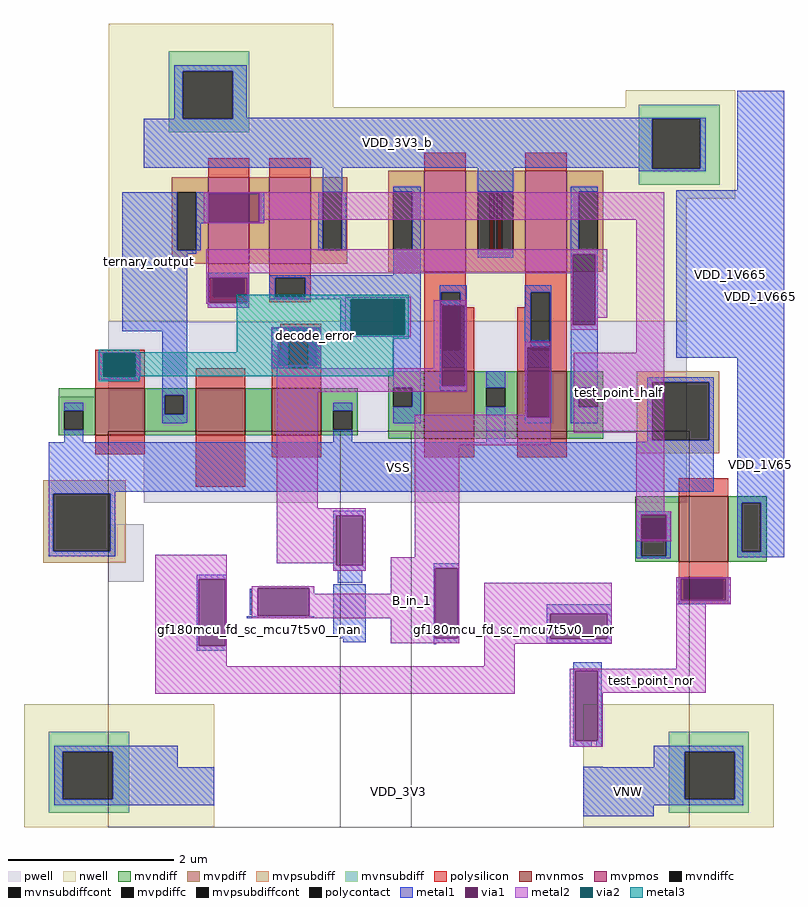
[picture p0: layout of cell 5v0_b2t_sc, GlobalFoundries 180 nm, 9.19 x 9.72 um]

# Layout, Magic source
magic
tech gf180mcuD
magscale 1 10
<< nwell >>
rect 195 759 737 960
rect 195 758 738 759
rect 195 312 782 758
rect 1444 546 1709 799
rect 1452 537 1709 546
rect 195 262 796 312
rect 195 261 789 262
rect 195 240 782 261
rect -10 -983 450 -685
rect 1342 -983 1802 -685
<< pwell >>
rect 194 239 317 240
rect 194 234 773 239
rect 835 234 926 240
rect 194 226 926 234
rect 194 223 618 226
rect 691 223 926 226
rect 194 158 691 223
rect 692 158 926 223
rect 194 81 926 158
rect 73 -35 162 58
rect 194 -35 798 81
rect 817 -35 926 81
rect 194 -59 926 -35
rect 280 -198 926 -59
rect 1471 -79 1513 120
rect 194 -389 280 -250
<< mvnmos >>
rect 162 -35 282 79
rect 405 -35 525 79
rect 589 -35 709 79
rect 1572 -341 1692 -183
<< mvpmos >>
rect 435 379 535 588
rect 583 379 683 588
<< mvndiff >>
rect 74 24 162 79
rect 74 -22 87 24
rect 133 -22 162 24
rect 74 -35 162 -22
rect 282 62 405 79
rect 282 16 330 62
rect 376 16 405 62
rect 282 -35 405 16
rect 525 -35 589 79
rect 709 24 797 79
rect 709 -22 738 24
rect 784 -22 797 24
rect 709 -35 797 -22
rect 1468 -237 1572 -183
rect 1468 -327 1482 -237
rect 1542 -327 1572 -237
rect 1468 -341 1572 -327
rect 1692 -198 1785 -183
rect 1692 -317 1725 -198
rect 1771 -317 1785 -198
rect 1692 -341 1785 -317
<< mvpdiff >>
rect 347 552 435 588
rect 347 412 360 552
rect 406 412 435 552
rect 347 379 435 412
rect 535 379 583 588
rect 683 552 771 588
rect 683 412 712 552
rect 758 412 771 552
rect 683 379 771 412
<< mvndiffc >>
rect 87 -22 133 24
rect 330 16 376 62
rect 738 -22 784 24
rect 1482 -327 1542 -237
rect 1725 -317 1771 -198
<< mvpdiffc >>
rect 360 412 406 552
rect 712 412 758 552
rect 1087 413 1173 553
<< mvpsubdiff >>
rect 1471 93 1670 120
rect 37 -176 236 -144
rect 1471 -47 1509 93
rect 1646 -47 1670 93
rect 1471 -79 1670 -47
rect 37 -316 61 -176
rect 198 -316 236 -176
rect 37 -343 236 -316
<< mvnsubdiff >>
rect 340 845 534 893
rect 340 730 374 845
rect 495 730 534 845
rect 340 697 534 730
rect 1476 730 1672 764
rect 1476 609 1509 730
rect 1624 609 1672 730
rect 1476 570 1672 609
rect 50 -800 244 -752
rect 50 -915 84 -800
rect 205 -915 244 -800
rect 50 -948 244 -915
rect 1548 -800 1742 -752
rect 1548 -915 1587 -800
rect 1708 -915 1742 -800
rect 1548 -948 1742 -915
<< mvpsubdiffcont >>
rect 1509 -47 1646 93
rect 61 -316 198 -176
<< mvnsubdiffcont >>
rect 374 730 495 845
rect 1509 609 1624 730
rect 84 -915 205 -800
rect 1587 -915 1708 -800
<< polysilicon >>
rect 435 588 535 634
rect 583 588 683 634
rect 435 346 535 379
rect 435 300 448 346
rect 521 300 535 346
rect 435 286 535 300
rect 583 346 683 379
rect 583 300 597 346
rect 670 300 683 346
rect 583 286 683 300
rect 609 219 709 234
rect 162 158 282 172
rect 609 170 630 219
rect 162 112 181 158
rect 259 112 282 158
rect 589 127 630 170
rect 676 127 709 219
rect 162 79 282 112
rect 405 79 525 127
rect 589 79 709 127
rect 162 -81 282 -35
rect 405 -159 525 -35
rect 589 -88 709 -35
rect 1572 -183 1692 -139
rect 1572 -378 1692 -341
rect 1572 -429 1586 -378
rect 1679 -429 1692 -378
rect 1572 -443 1692 -429
<< polycontact >>
rect 448 300 521 346
rect 597 300 670 346
rect 181 112 259 158
rect 630 127 676 219
rect 1586 -429 1679 -378
<< metal1 >>
rect 353 845 528 859
rect 353 730 374 845
rect 495 732 528 845
rect 495 730 840 732
rect 1476 730 1638 732
rect 280 612 1347 730
rect 712 552 759 612
rect 1476 609 1509 730
rect 1624 609 1638 730
rect 1476 603 1638 609
rect 1714 557 1827 798
rect 228 412 360 552
rect 406 550 571 552
rect 406 480 436 550
rect 559 480 571 550
rect 406 477 571 480
rect 406 412 417 477
rect 701 412 712 552
rect 758 412 769 552
rect 228 404 406 412
rect 228 216 385 404
rect 434 346 535 358
rect 434 285 438 346
rect 530 285 535 346
rect 583 346 940 352
rect 583 300 597 346
rect 670 326 940 346
rect 670 300 948 326
rect 583 294 948 300
rect 434 273 535 285
rect 169 158 271 166
rect 169 106 181 158
rect 259 106 271 158
rect 169 99 271 106
rect 324 62 385 216
rect 589 219 709 223
rect 589 214 630 219
rect 676 214 709 219
rect 589 134 604 214
rect 697 134 709 214
rect 755 208 780 294
rect 910 208 948 294
rect 755 203 948 208
rect 995 279 1060 291
rect 589 127 630 134
rect 676 127 709 134
rect 995 84 1000 279
rect 1055 84 1060 279
rect 995 72 1060 84
rect 1200 178 1265 195
rect 87 24 133 43
rect 324 16 330 62
rect 376 16 385 62
rect 324 -5 385 16
rect 738 24 784 43
rect 324 -6 376 -5
rect 87 -52 133 -22
rect 1200 8 1206 178
rect 1261 8 1265 178
rect 1567 152 1827 557
rect 1200 -6 1265 8
rect 1497 93 1657 105
rect 738 -52 784 -22
rect 1497 -47 1509 93
rect 1646 -47 1657 93
rect 1497 -51 1657 -47
rect 50 -172 1288 -52
rect 1471 -79 1657 -51
rect 1484 -172 1657 -79
rect 50 -176 210 -172
rect 50 -316 61 -176
rect 198 -316 210 -176
rect 1714 -198 1827 152
rect 50 -328 210 -316
rect 738 -230 816 -218
rect 738 -349 745 -230
rect 809 -349 816 -230
rect 1470 -227 1553 -219
rect 1470 -327 1482 -227
rect 1542 -327 1553 -227
rect 1470 -332 1553 -327
rect 1714 -317 1725 -198
rect 1771 -317 1827 -198
rect 1714 -330 1827 -317
rect 738 -362 816 -349
rect 981 -356 1042 -344
rect 407 -383 480 -372
rect 407 -544 412 -383
rect 476 -544 480 -383
rect 748 -391 807 -362
rect 536 -469 541 -406
rect 582 -472 668 -471
rect 528 -478 691 -472
rect 738 -526 816 -395
rect 762 -535 816 -526
rect 981 -526 984 -356
rect 1039 -526 1042 -356
rect 1566 -382 1586 -378
rect 1679 -382 1698 -378
rect 1566 -434 1578 -382
rect 1686 -434 1698 -382
rect 1566 -443 1698 -434
rect 981 -538 1042 -526
rect 1254 -467 1411 -444
rect 1254 -527 1262 -467
rect 1400 -527 1411 -467
rect 1254 -538 1411 -527
rect 981 -540 987 -538
rect 407 -556 480 -544
rect 1317 -604 1386 -584
rect 1317 -774 1322 -604
rect 1377 -774 1386 -604
rect 63 -800 362 -786
rect 1317 -788 1362 -774
rect 1373 -788 1386 -774
rect 63 -915 84 -800
rect 205 -838 362 -800
rect 1512 -800 1729 -786
rect 1342 -837 1389 -836
rect 1512 -837 1587 -800
rect 205 -915 450 -838
rect 63 -929 450 -915
rect 1342 -915 1587 -837
rect 1708 -915 1729 -800
rect 1342 -929 1729 -915
rect 1342 -956 1512 -929
<< via1 >>
rect 436 480 559 550
rect 438 300 448 346
rect 448 300 521 346
rect 521 300 530 346
rect 438 285 530 300
rect 181 112 259 158
rect 181 106 259 112
rect 604 134 630 214
rect 630 134 676 214
rect 676 134 697 214
rect 780 208 910 294
rect 1000 84 1055 279
rect 1316 232 1371 402
rect 1206 8 1261 178
rect 745 -349 809 -230
rect 1482 -237 1542 -227
rect 1482 -287 1542 -237
rect 412 -544 476 -383
rect 555 -471 679 -405
rect 984 -526 1039 -356
rect 1578 -429 1586 -382
rect 1586 -429 1679 -382
rect 1679 -429 1686 -382
rect 1578 -434 1686 -429
rect 1262 -527 1400 -467
rect 1322 -774 1377 -604
<< metal2 >>
rect 424 550 1537 552
rect 424 480 436 550
rect 559 486 1537 550
rect 559 480 571 486
rect 424 477 571 480
rect 431 414 925 415
rect 431 402 1400 414
rect 431 356 1316 402
rect 431 346 535 356
rect 431 285 438 346
rect 530 285 535 346
rect 431 283 535 285
rect 434 273 535 283
rect 766 294 925 300
rect 588 214 709 226
rect 169 162 271 166
rect 169 106 181 162
rect 259 106 271 162
rect 588 134 604 214
rect 697 134 709 214
rect 766 208 780 294
rect 910 208 925 294
rect 766 203 925 208
rect 981 279 1060 291
rect 588 127 709 134
rect 981 127 1000 279
rect 169 99 271 106
rect 601 84 1000 127
rect 1055 84 1060 279
rect 1311 232 1316 356
rect 1371 249 1400 402
rect 1371 232 1377 249
rect 1311 220 1377 232
rect 601 70 1060 84
rect 1200 178 1263 191
rect 601 -212 700 70
rect 1200 14 1206 178
rect 935 8 1206 14
rect 1261 8 1263 178
rect 1470 164 1537 486
rect 935 -59 1263 8
rect 1319 -29 1537 164
rect 601 -230 816 -212
rect 307 -383 480 -324
rect 601 -344 745 -230
rect 738 -349 745 -344
rect 809 -349 816 -230
rect 935 -330 1042 -59
rect 1470 -219 1537 -29
rect 1470 -227 1554 -219
rect 1470 -287 1482 -227
rect 1542 -287 1554 -227
rect 1470 -291 1554 -287
rect 738 -362 816 -349
rect 876 -356 1042 -330
rect 307 -544 412 -383
rect 476 -544 480 -383
rect 541 -405 691 -400
rect 541 -471 555 -405
rect 679 -418 691 -405
rect 876 -418 984 -356
rect 679 -471 984 -418
rect 541 -478 984 -471
rect 876 -526 984 -478
rect 1039 -526 1042 -356
rect 1566 -382 1698 -378
rect 876 -538 1042 -526
rect 1102 -467 1411 -392
rect 1102 -527 1262 -467
rect 1400 -527 1411 -467
rect 307 -594 480 -544
rect 1102 -539 1411 -527
rect 1566 -434 1578 -382
rect 1686 -434 1698 -382
rect 1566 -443 1698 -434
rect 1102 -594 1176 -539
rect 307 -660 1176 -594
rect 1566 -600 1638 -443
rect 1309 -604 1638 -600
rect 1309 -774 1322 -604
rect 1377 -657 1638 -604
rect 1377 -774 1389 -657
rect 1309 -788 1389 -774
<< via2 >>
rect 181 158 259 162
rect 181 106 259 158
rect 780 208 910 294
<< metal3 >>
rect 504 304 883 305
rect 504 294 920 304
rect 504 208 780 294
rect 910 208 920 294
rect 504 198 920 208
rect 171 166 269 172
rect 504 166 883 198
rect 171 162 883 166
rect 171 106 181 162
rect 259 108 883 162
rect 259 106 269 108
rect 171 96 269 106
use modded_inverter  gf180mcu_fd_sc_mcu7t5v0__inv_1_0
transform -1 0 1202 0 1 -112
box -86 -86 534 870
use modded_inverter  gf180mcu_fd_sc_mcu7t5v0__inv_1_1
transform 1 0 1058 0 1 -112
box -86 -86 534 870
use gf180mcu_fd_sc_mcu7t5v0__nand2_1  gf180mcu_fd_sc_mcu7t5v0__nand2_1_0 $PDKPATH/libs.ref/gf180mcu_fd_sc_mcu7t5v0/mag
transform 1 0 280 0 -1 -112
box -86 -86 646 870
use gf180mcu_fd_sc_mcu7t5v0__nor2_1  gf180mcu_fd_sc_mcu7t5v0__nor2_1_0 $PDKPATH/libs.ref/gf180mcu_fd_sc_mcu7t5v0/mag
transform 1 0 840 0 -1 -112
box -86 -86 758 870
<< labels >>
rlabel space 280 -956 1512 -836 1 VDD_3V3
port 9 n power bidirectional
rlabel space 280 612 1506 732 1 VDD_3V3_b
port 10 n power bidirectional
rlabel metal2 1377 -657 1638 -600 1 test_point_nor
port 16 n signal output
rlabel space 280 -172 1512 -52 1 VSS
port 18 n ground bidirectional
rlabel metal2 876 -538 984 -330 1 B_in_1
port 22 n signal input
rlabel metal2 307 -660 412 -324 1 B_in_0
port 23 n signal input
rlabel metal2 1319 -29 1537 164 1 test_point_half
port 26 n signal bidirectional
rlabel metal3 504 108 883 305 1 decode_error
port 27 n signal output
rlabel metal1 228 216 360 552 1 ternary_output
port 28 n signal bidirectional
flabel nwell s 1402 -946 1502 -846 0 FreeSans 400 180 0 0 VNW
port 5 nsew power bidirectional
rlabel metal1 1714 -330 1827 117 1 VDD_1V65
port 29 n signal bidirectional
rlabel metal1 1567 152 1827 557 1 VDD_1V665
port 30 n signal bidirectional
rlabel metal1 1714 -198 1827 798 1 VDD_1V665
port 30 n signal bidirectional
<< end >>

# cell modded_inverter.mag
magic
tech gf180mcuD
magscale 1 10
<< nwell >>
rect -86 352 534 870
<< pwell >>
rect -86 -86 534 352
<< mvnmos >>
rect 124 68 244 232
<< mvpmos >>
rect 144 472 244 716
<< mvndiff >>
rect 36 192 124 232
rect 36 146 49 192
rect 95 146 124 192
rect 36 68 124 146
rect 244 192 332 232
rect 244 146 273 192
rect 319 146 332 192
rect 244 68 332 146
<< mvpdiff >>
rect 56 665 144 716
rect 56 525 69 665
rect 115 525 144 665
rect 56 472 144 525
rect 244 665 332 716
rect 244 525 273 665
rect 319 525 332 665
rect 244 472 332 525
<< mvndiffc >>
rect 49 146 95 192
rect 273 146 319 192
<< mvpdiffc >>
rect 273 525 319 665
<< polysilicon >>
rect 144 716 244 760
rect 144 423 244 472
rect 144 386 157 423
rect 124 283 157 386
rect 203 283 244 423
rect 124 232 244 283
rect 124 24 244 68
<< polycontact >>
rect 157 283 203 423
<< metal1 >>
rect 0 724 448 844
rect 69 665 115 724
rect 253 665 319 678
rect 253 525 273 665
rect 69 506 115 525
rect 142 423 207 440
rect 142 283 157 423
rect 203 283 207 423
rect 142 240 207 283
rect 49 192 95 232
rect 49 60 95 146
rect 253 192 319 525
rect 253 146 273 192
rect 253 106 319 146
rect 0 -60 448 60
<< labels >>
flabel metal1 s 49 60 95 232 0 FreeSans 400 0 0 0 VSS
port 6 nsew ground bidirectional abutment
flabel metal1 s 253 106 319 678 0 FreeSans 400 0 0 0 ZN
port 2 nsew default output
flabel metal1 s 142 240 207 440 0 FreeSans 400 0 0 0 I
port 1 nsew default input
flabel metal1 s 0 724 448 844 0 FreeSans 400 0 0 0 VDD
port 3 nsew power bidirectional abutment
flabel nwell s 10 734 110 834 0 FreeSans 400 0 0 0 VNW
port 4 nsew power bidirectional
flabel pwell s 10 -50 110 50 0 FreeSans 400 0 0 0 VPW
port 5 nsew ground bidirectional
rlabel metal1 s 69 506 115 724 1 VDD
port 3 nsew power bidirectional abutment
rlabel metal1 s 0 -60 448 60 1 VSS
port 6 nsew ground bidirectional abutment
<< properties >>
string FIXED_BBOX 0 0 448 784
string GDS_END 476332
string GDS_FILE $PDKPATH/libs.ref/gf180mcu_fd_sc_mcu7t5v0/gds/gf180mcu_fd_sc_mcu7t5v0.gds
string GDS_START 474136
string LEFclass core
string LEFsite GF018hv5v_mcu_sc7
string LEFsymmetry X Y
<< end >>
